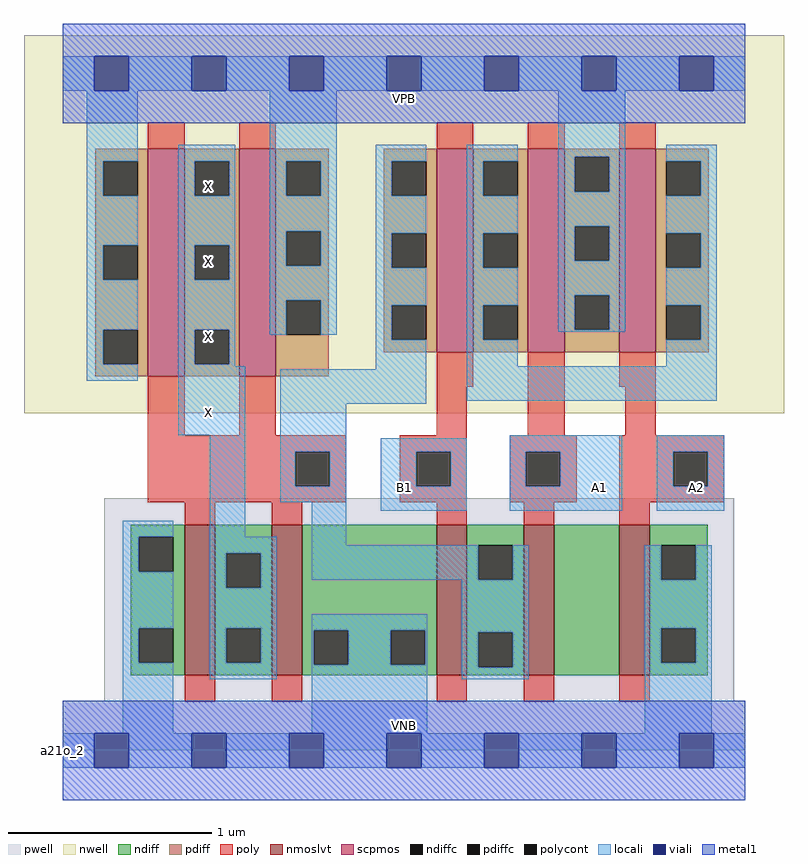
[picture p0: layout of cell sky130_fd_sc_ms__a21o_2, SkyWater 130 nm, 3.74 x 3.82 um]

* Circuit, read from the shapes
.subckt sky130_fd_sc_ms__a21o_2 A1 A2 B1 VGND VNB VPB VPWR X
XM1 X n1 VGND VNB sky130_fd_pr__nfet_01v8_lvt w=0.74 l=0.15 m=2
XM2 n1 B1 VGND VNB sky130_fd_pr__nfet_01v8_lvt w=0.74 l=0.15
XM3 n2 A1 n1 VNB sky130_fd_pr__nfet_01v8_lvt w=0.74 l=0.15
XM4 VGND A2 n2 VNB sky130_fd_pr__nfet_01v8_lvt w=0.74 l=0.15
XM5 X n1 VPWR VPB sky130_fd_pr__pfet_01v8 w=1.12 l=0.18 m=2
XM6 n3 B1 n1 VPB sky130_fd_pr__pfet_01v8 w=1 l=0.18
XM7 VPWR A1 n3 VPB sky130_fd_pr__pfet_01v8 w=1 l=0.18
XM8 n3 A2 VPWR VPB sky130_fd_pr__pfet_01v8 w=1 l=0.18
.ends

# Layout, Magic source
magic
tech sky130A
magscale 1 2
<< nwell >>
rect -38 332 710 704
<< pwell >>
rect 41 49 661 248
rect 0 0 672 49
<< scpmos >>
rect 84 368 120 592
rect 174 368 210 592
rect 368 392 404 592
rect 458 392 494 592
rect 548 392 584 592
<< nmoslvt >>
rect 120 74 150 222
rect 206 74 236 222
rect 368 74 398 222
rect 454 74 484 222
rect 548 74 578 222
<< ndiff >>
rect 67 210 120 222
rect 67 176 75 210
rect 109 176 120 210
rect 67 120 120 176
rect 67 86 75 120
rect 109 86 120 120
rect 67 74 120 86
rect 150 194 206 222
rect 150 160 161 194
rect 195 160 206 194
rect 150 120 206 160
rect 150 86 161 120
rect 195 86 206 120
rect 150 74 206 86
rect 236 118 368 222
rect 236 84 247 118
rect 281 84 323 118
rect 357 84 368 118
rect 236 74 368 84
rect 398 202 454 222
rect 398 168 409 202
rect 443 168 454 202
rect 398 116 454 168
rect 398 82 409 116
rect 443 82 454 116
rect 398 74 454 82
rect 484 74 548 222
rect 578 202 635 222
rect 578 168 589 202
rect 623 168 635 202
rect 578 120 635 168
rect 578 86 589 120
rect 623 86 635 120
rect 578 74 635 86
<< pdiff >>
rect 32 580 84 592
rect 32 546 40 580
rect 74 546 84 580
rect 32 497 84 546
rect 32 463 40 497
rect 74 463 84 497
rect 32 414 84 463
rect 32 380 40 414
rect 74 380 84 414
rect 32 368 84 380
rect 120 580 174 592
rect 120 546 130 580
rect 164 546 174 580
rect 120 497 174 546
rect 120 463 130 497
rect 164 463 174 497
rect 120 414 174 463
rect 120 380 130 414
rect 164 380 174 414
rect 120 368 174 380
rect 210 580 262 592
rect 210 546 220 580
rect 254 546 262 580
rect 210 511 262 546
rect 210 477 220 511
rect 254 477 262 511
rect 210 443 262 477
rect 210 409 220 443
rect 254 409 262 443
rect 210 368 262 409
rect 316 580 368 592
rect 316 546 324 580
rect 358 546 368 580
rect 316 509 368 546
rect 316 475 324 509
rect 358 475 368 509
rect 316 438 368 475
rect 316 404 324 438
rect 358 404 368 438
rect 316 392 368 404
rect 404 580 458 592
rect 404 546 414 580
rect 448 546 458 580
rect 404 509 458 546
rect 404 475 414 509
rect 448 475 458 509
rect 404 438 458 475
rect 404 404 414 438
rect 448 404 458 438
rect 404 392 458 404
rect 494 584 548 592
rect 494 550 504 584
rect 538 550 548 584
rect 494 516 548 550
rect 494 482 504 516
rect 538 482 548 516
rect 494 448 548 482
rect 494 414 504 448
rect 538 414 548 448
rect 494 392 548 414
rect 584 580 636 592
rect 584 546 594 580
rect 628 546 636 580
rect 584 509 636 546
rect 584 475 594 509
rect 628 475 636 509
rect 584 438 636 475
rect 584 404 594 438
rect 628 404 636 438
rect 584 392 636 404
<< ndiffc >>
rect 75 176 109 210
rect 75 86 109 120
rect 161 160 195 194
rect 161 86 195 120
rect 247 84 281 118
rect 323 84 357 118
rect 409 168 443 202
rect 409 82 443 116
rect 589 168 623 202
rect 589 86 623 120
<< pdiffc >>
rect 40 546 74 580
rect 40 463 74 497
rect 40 380 74 414
rect 130 546 164 580
rect 130 463 164 497
rect 130 380 164 414
rect 220 546 254 580
rect 220 477 254 511
rect 220 409 254 443
rect 324 546 358 580
rect 324 475 358 509
rect 324 404 358 438
rect 414 546 448 580
rect 414 475 448 509
rect 414 404 448 438
rect 504 550 538 584
rect 504 482 538 516
rect 504 414 538 448
rect 594 546 628 580
rect 594 475 628 509
rect 594 404 628 438
<< poly >>
rect 84 592 120 618
rect 174 592 210 618
rect 368 592 404 618
rect 458 592 494 618
rect 548 592 584 618
rect 84 310 120 368
rect 174 310 210 368
rect 368 358 404 392
rect 368 310 398 358
rect 458 310 494 392
rect 548 358 584 392
rect 554 310 584 358
rect 84 294 279 310
rect 84 260 229 294
rect 263 260 279 294
rect 84 244 279 260
rect 332 294 398 310
rect 332 260 348 294
rect 382 260 398 294
rect 332 244 398 260
rect 440 294 506 310
rect 440 260 456 294
rect 490 260 506 294
rect 440 244 506 260
rect 548 294 651 310
rect 548 260 601 294
rect 635 260 651 294
rect 548 244 651 260
rect 120 222 150 244
rect 206 222 236 244
rect 368 222 398 244
rect 454 222 484 244
rect 548 222 578 244
rect 120 48 150 74
rect 206 48 236 74
rect 368 48 398 74
rect 454 48 484 74
rect 548 48 578 74
<< polycont >>
rect 229 260 263 294
rect 348 260 382 294
rect 456 260 490 294
rect 601 260 635 294
<< locali >>
rect 0 649 31 683
rect 65 649 127 683
rect 161 649 223 683
rect 257 649 319 683
rect 353 649 415 683
rect 449 649 511 683
rect 545 649 607 683
rect 641 649 672 683
rect 24 580 74 649
rect 24 546 40 580
rect 24 497 74 546
rect 24 463 40 497
rect 24 414 74 463
rect 24 380 40 414
rect 24 364 74 380
rect 114 580 170 596
rect 114 546 130 580
rect 164 546 170 580
rect 114 497 170 546
rect 114 463 130 497
rect 164 463 170 497
rect 114 414 170 463
rect 114 380 130 414
rect 164 380 170 414
rect 204 580 270 649
rect 204 546 220 580
rect 254 546 270 580
rect 204 511 270 546
rect 204 477 220 511
rect 254 477 270 511
rect 204 443 270 477
rect 204 409 220 443
rect 254 409 270 443
rect 308 580 358 596
rect 308 546 324 580
rect 308 509 358 546
rect 308 475 324 509
rect 308 438 358 475
rect 114 378 170 380
rect 308 404 324 438
rect 114 310 180 378
rect 308 375 358 404
rect 59 210 109 226
rect 59 176 75 210
rect 59 120 109 176
rect 59 86 75 120
rect 59 17 109 86
rect 145 210 180 310
rect 214 341 358 375
rect 398 580 448 596
rect 398 546 414 580
rect 398 509 448 546
rect 398 475 414 509
rect 398 438 448 475
rect 398 404 414 438
rect 488 584 554 649
rect 488 550 504 584
rect 538 550 554 584
rect 488 516 554 550
rect 488 482 504 516
rect 538 482 554 516
rect 488 448 554 482
rect 488 414 504 448
rect 538 414 554 448
rect 488 412 554 414
rect 594 580 644 596
rect 628 546 644 580
rect 594 509 644 546
rect 628 475 644 509
rect 594 438 644 475
rect 398 378 448 404
rect 628 404 644 438
rect 594 378 644 404
rect 398 344 644 378
rect 214 294 279 341
rect 214 260 229 294
rect 263 260 279 294
rect 214 244 279 260
rect 145 194 211 210
rect 145 160 161 194
rect 195 160 211 194
rect 245 202 279 244
rect 313 294 398 307
rect 313 260 348 294
rect 382 260 398 294
rect 313 236 398 260
rect 440 294 551 310
rect 440 260 456 294
rect 490 260 551 294
rect 440 236 551 260
rect 585 294 651 310
rect 585 260 601 294
rect 635 260 651 294
rect 585 236 651 260
rect 245 168 409 202
rect 443 168 459 202
rect 145 120 211 160
rect 145 86 161 120
rect 195 86 211 120
rect 145 70 211 86
rect 245 118 359 134
rect 245 84 247 118
rect 281 84 323 118
rect 357 84 359 118
rect 245 17 359 84
rect 393 116 459 168
rect 393 82 409 116
rect 443 82 459 116
rect 393 70 459 82
rect 573 168 589 202
rect 623 168 639 202
rect 573 120 639 168
rect 573 86 589 120
rect 623 86 639 120
rect 573 17 639 86
rect 0 -17 31 17
rect 65 -17 127 17
rect 161 -17 223 17
rect 257 -17 319 17
rect 353 -17 415 17
rect 449 -17 511 17
rect 545 -17 607 17
rect 641 -17 672 17
<< viali >>
rect 31 649 65 683
rect 127 649 161 683
rect 223 649 257 683
rect 319 649 353 683
rect 415 649 449 683
rect 511 649 545 683
rect 607 649 641 683
rect 31 -17 65 17
rect 127 -17 161 17
rect 223 -17 257 17
rect 319 -17 353 17
rect 415 -17 449 17
rect 511 -17 545 17
rect 607 -17 641 17
<< metal1 >>
rect 0 683 672 715
rect 0 649 31 683
rect 65 649 127 683
rect 161 649 223 683
rect 257 649 319 683
rect 353 649 415 683
rect 449 649 511 683
rect 545 649 607 683
rect 641 649 672 683
rect 0 617 672 649
rect 0 17 672 49
rect 0 -17 31 17
rect 65 -17 127 17
rect 161 -17 223 17
rect 257 -17 319 17
rect 353 -17 415 17
rect 449 -17 511 17
rect 545 -17 607 17
rect 641 -17 672 17
rect 0 -49 672 -17
<< labels >>
flabel pwell s 0 0 672 49 0 FreeSans 200 0 0 0 VNB
port 5 nsew ground bidirectional
flabel nwell s 0 617 672 666 0 FreeSans 200 0 0 0 VPB
port 6 nsew power bidirectional
rlabel comment s 0 0 0 0 4 a21o_2
flabel metal1 s 0 617 672 666 0 FreeSans 340 0 0 0 VPWR
port 7 nsew power bidirectional
flabel metal1 s 0 0 672 49 0 FreeSans 340 0 0 0 VGND
port 4 nsew ground bidirectional
flabel locali s 319 242 353 276 0 FreeSans 340 0 0 0 B1
port 3 nsew signal input
flabel locali s 607 242 641 276 0 FreeSans 340 0 0 0 A2
port 2 nsew signal input
flabel locali s 511 242 545 276 0 FreeSans 340 0 0 0 A1
port 1 nsew signal input
flabel locali s 127 316 161 350 0 FreeSans 340 0 0 0 X
port 8 nsew signal output
flabel locali s 127 390 161 424 0 FreeSans 340 0 0 0 X
port 8 nsew signal output
flabel locali s 127 464 161 498 0 FreeSans 340 0 0 0 X
port 8 nsew signal output
flabel locali s 127 538 161 572 0 FreeSans 340 0 0 0 X
port 8 nsew signal output
<< properties >>
string LEFsite unit
string LEFclass CORE
string FIXED_BBOX 0 0 672 666
string GDS_FILE $PDKPATH/libs.ref/sky130_fd_sc_ms/gds/sky130_fd_sc_ms.gds
string LEFsymmetry X Y
string GDS_END 1484444
string GDS_START 1477630
<< end >>
